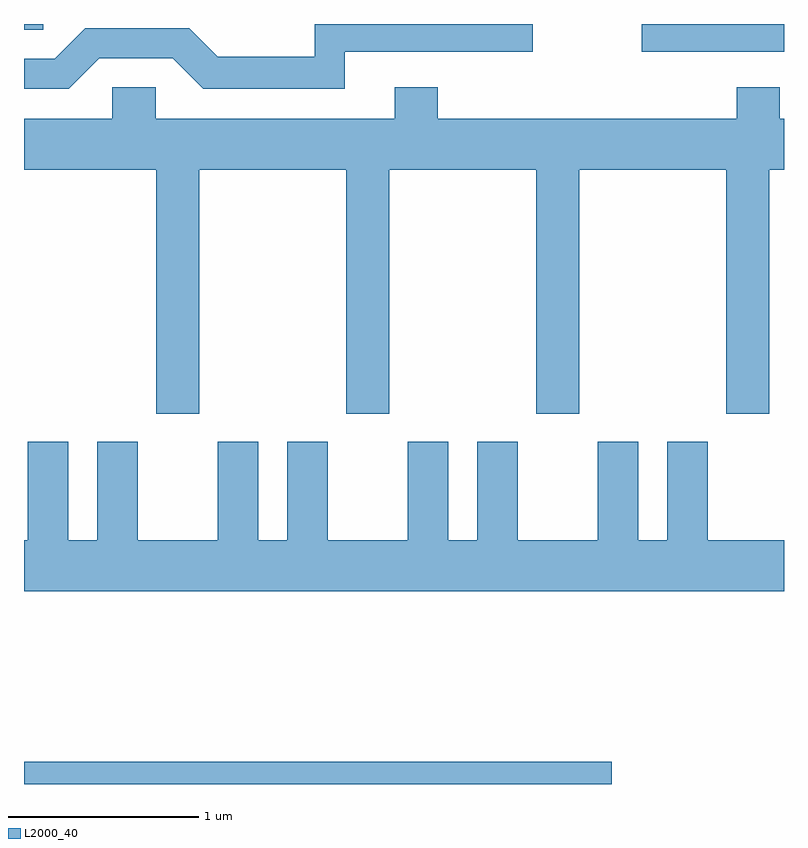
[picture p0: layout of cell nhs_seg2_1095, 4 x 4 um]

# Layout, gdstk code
import gdstk
lib = gdstk.Library(unit=1e-6, precision=1e-09)
def R(c, l, rs):  # rectangles x0, y0, x1, y1
    for r in rs: c.add(gdstk.rectangle(r[:2], r[2:], *l))
def P(c, l, *ps):  # polygons
    for p in ps: c.add(gdstk.Polygon(p, *l))
L2000_40 = (2000, 40)

nhs_seg2_1095 = lib.new_cell('nhs_seg2_1095')
R(nhs_seg2_1095, L2000_40, [(217.611,991.802,220.704,991.919), (220.863,995.656,221.611,995.802), (217.611,995.771,217.713,995.802)])
P(nhs_seg2_1095, L2000_40, [(218.007,995.621),(218.394,995.621),(218.554,995.461),(219.299,995.461),(219.299,995.656),(220.288,995.656),(220.288,995.802),(219.141,995.802),(219.141,995.629),(218.632,995.629),(218.482,995.779),(217.934,995.779),(217.774,995.619),(217.611,995.619),(217.611,995.461),(217.847,995.461)],
  [(218.534,995.036),(219.306,995.036),(219.306,993.751),(219.534,993.751),(219.534,995.036),(220.306,995.036),(220.306,993.751),(220.534,993.751),(220.534,995.036),(221.306,995.036),(221.306,993.751),(221.534,993.751),(221.534,995.036),(221.611,995.036),(221.611,995.304),(221.589,995.304),(221.589,995.469),(221.361,995.469),(221.361,995.304),(219.789,995.304),(219.789,995.469),(219.561,995.469),(219.561,995.304),(218.304,995.304),(218.304,995.469),(218.076,995.469),(218.076,995.304),(217.611,995.304),(217.611,995.036),(218.306,995.036),(218.306,993.751),(218.534,993.751)],
  [(221.611,993.084),(221.209,993.084),(221.209,993.604),(220.996,993.604),(220.996,993.084),(220.844,993.084),(220.844,993.604),(220.631,993.604),(220.631,993.084),(220.209,993.084),(220.209,993.604),(219.996,993.604),(219.996,993.084),(219.844,993.084),(219.844,993.604),(219.631,993.604),(219.631,993.084),(219.209,993.084),(219.209,993.604),(218.996,993.604),(218.996,993.084),(218.844,993.084),(218.844,993.604),(218.631,993.604),(218.631,993.084),(218.209,993.084),(218.209,993.604),(217.996,993.604),(217.996,993.084),(217.844,993.084),(217.844,993.604),(217.631,993.604),(217.631,993.084),(217.611,993.084),(217.611,992.816),(221.611,992.816)])

lib.write_gds('nhs_seg2_1095.gds')
